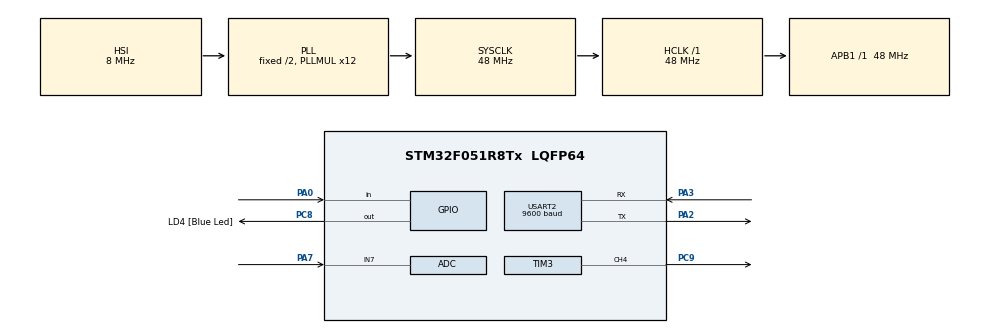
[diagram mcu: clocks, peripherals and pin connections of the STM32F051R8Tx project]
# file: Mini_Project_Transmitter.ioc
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Dma.ADC.1.Direction=DMA_PERIPH_TO_MEMORY
Dma.ADC.1.Instance=DMA1_Channel1
Dma.ADC.1.MemDataAlignment=DMA_MDATAALIGN_HALFWORD
Dma.ADC.1.MemInc=DMA_MINC_ENABLE
Dma.ADC.1.Mode=DMA_NORMAL
Dma.ADC.1.PeriphDataAlignment=DMA_PDATAALIGN_HALFWORD
Dma.ADC.1.PeriphInc=DMA_PINC_DISABLE
Dma.ADC.1.Priority=DMA_PRIORITY_LOW
Dma.Request0=USART2_TX
Dma.Request1=ADC
Dma.USART2_TX.0.Direction=DMA_MEMORY_TO_PERIPH
Dma.USART2_TX.0.Instance=DMA1_Channel4
Dma.USART2_TX.0.MemDataAlignment=DMA_MDATAALIGN_BYTE
Dma.USART2_TX.0.MemInc=DMA_MINC_ENABLE
Dma.USART2_TX.0.Mode=DMA_NORMAL
Dma.USART2_TX.0.PeriphDataAlignment=DMA_PDATAALIGN_BYTE
Dma.USART2_TX.0.PeriphInc=DMA_PINC_DISABLE
Dma.USART2_TX.0.Priority=DMA_PRIORITY_LOW
Mcu.Family=STM32F0
Mcu.Name=STM32F051R8Tx
Mcu.Package=LQFP64
NVIC.ADC1_COMP_IRQn=true\:0\:0\:false\:false\:true\:true\:true\:true
NVIC.DMA1_Channel1_IRQn=true\:0\:0\:false\:false\:true\:false\:true\:true
NVIC.DMA1_Channel4_5_IRQn=true\:0\:0\:false\:false\:true\:false\:true\:true
NVIC.USART2_IRQn=true\:0\:0\:false\:false\:true\:true\:true\:true
PA0.GPIO_PuPd=GPIO_PULLDOWN
PA0.Signal=GPIO_Input
PA13.GPIO_Label=SWDIO
PA13.Mode=Serial_Wire
PA13.Signal=SYS_SWDIO
PA14.GPIO_Label=SWCLK
PA14.Mode=Serial_Wire
PA14.Signal=SYS_SWCLK
PA2.Mode=Asynchronous
PA2.Signal=USART2_TX
PA3.Mode=Asynchronous
PA3.Signal=USART2_RX
PA7.Mode=IN7
PA7.Signal=ADC_IN7
PB6.Signal=I2C1_SCL
PB7.Signal=I2C1_SDA
PC8.GPIO_Label=LD4 [Blue Led]
PC8.Signal=GPIO_Output
PC9.Signal=S_TIM3_CH4
PF0-OSC_IN.Mode=HSE-External-Oscillator
PF0-OSC_IN.Signal=RCC_OSC_IN
PF1-OSC_OUT.Mode=HSE-External-Oscillator
PF1-OSC_OUT.Signal=RCC_OSC_OUT
ProjectManager.HeapSize=0x200
ProjectManager.StackSize=0x400
ProjectManager.TargetToolchain=STM32CubeIDE
RCC.AHBFreq_Value=48000000
RCC.APB1Freq_Value=48000000
RCC.APB1TimFreq_Value=48000000
RCC.HCLKFreq_Value=48000000
RCC.PLLMUL=RCC_PLL_MUL12
RCC.SYSCLKFreq_VALUE=48000000
RCC.SYSCLKSource=RCC_SYSCLKSOURCE_PLLCLK
SH.S_TIM3_CH4.0=TIM3_CH4,PWM Generation4 CH4
TIM3.AutoReloadPreload=TIM_AUTORELOAD_PRELOAD_ENABLE
TIM3.Channel-PWM\ Generation4\ CH4=TIM_CHANNEL_4
TIM3.Period=47999
USART2.BaudRate=9600
USART2.VirtualMode-Asynchronous=VM_ASYNC
VP_TIM3_VS_ClockSourceINT.Mode=Internal
board=STM32F0DISCOVERY

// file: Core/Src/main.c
/* USER CODE BEGIN Header */
/**
*******************************************************
Info:		STM32 ADCs, GPIO Interrupts and PWM with HAL
Author:		Amaan Vally
*******************************************************
In this practical you will learn to use the ADC on the STM32 using the HAL.
Here, we will be measuring the voltage on a potentiometer and using its value
to adjust the brightness of the on board LEDs. We set up an interrupt to switch the
display between the blue and green LEDs.

Code is also provided to send data from the STM32 to other devices using UART protocol
by using HAL. You will need Putty or a Python script to read from the serial port on your PC.

UART Connections are as follows: 5V->5V GND->GND RXD->PA2 TXD->PA3(unused).
Open device manager and go to Ports. Plug in the USB connector with the STM powered on.
Check the port number (COMx). Open up Putty and create a new Serial session on that COMx
with baud rate of 9600.
  ******************************************************************************
  */
/* USER CODE END Header */
#include "main.h"
#include <stdio.h>

/* USER CODE BEGIN PD */
#define UART_TIMEOUT 1000
#define bit_duration 1000
/* USER CODE END PD */

ADC_HandleTypeDef hadc;
DMA_HandleTypeDef hdma_adc;

TIM_HandleTypeDef htim3;

UART_HandleTypeDef huart2;
DMA_HandleTypeDef hdma_usart2_tx;

/* USER CODE BEGIN PV */
char buffer[35];
int delay = 1000;
uint8_t samples_sent;

//TO DO:
//TASK 1
//Create global variables for debouncing and delay interval

/* USER CODE END PV */

void SystemClock_Config(void);
static void MX_GPIO_Init(void);
static void MX_DMA_Init(void);
static void MX_USART2_UART_Init(void);
static void MX_ADC_Init(void);
static void MX_TIM3_Init(void);
/* USER CODE BEGIN PFP */
void EXTI0_1_IRQHandler(void);
uint32_t pollADC(void);
uint32_t ADCtoCRR(uint32_t adc_val);
void sendData(uint32_t adc_val);
void sendCheckpoint(uint8_t samples);

/* USER CODE END PFP */

int main(void) {

  /* MCU Configuration--------------------------------------------------------*/

  /* Reset of all peripherals, Initializes the Flash interface and the Systick. */
  HAL_Init();

  /* Configure the system clock */
  SystemClock_Config();

  /* Initialize all configured peripherals */
  MX_GPIO_Init();
  MX_DMA_Init();
  MX_USART2_UART_Init();
  MX_ADC_Init();
  MX_TIM3_Init();
  /* USER CODE BEGIN 2 */

  // For UART Transmit
  char buffer[20];
  samples_sent=0;
  //Start the PWM on TIM3 Channel 4 (Green LED)
  HAL_TIM_PWM_Start(&htim3, TIM_CHANNEL_4);

  //GPIO Pin state
  GPIO_PinState state;
  uint32_t adc_val;
  /* USER CODE END 2 */

  /* Infinite loop */
  /* USER CODE BEGIN WHILE */
  while (1)
  {
	  state = HAL_GPIO_ReadPin(GPIOA, GPIO_PIN_0);  // Push button
	  if (state)
	  {
	   // LED to indicate pot being polled
		  adc_val = pollADC();

	  	  //Test your pollADC function and display via UART
	      //sprintf(buffer, "adc val = %d \r\n", adc_val);
	      //HAL_UART_Transmit(&huart2, buffer, sizeof(buffer), UART_TIMEOUT);

		  sendData(adc_val);//send data through GPIO pin B6
	  	  //Test your sample function and display via UART
	      sprintf(buffer, "ADC Value = %d \r\n", adc_val);
	      HAL_UART_Transmit(&huart2, buffer, sizeof(buffer), UART_TIMEOUT);

	  	  //Test your sample function and display via UART
	      sprintf(buffer, "samples sent = %d \r\n", samples_sent);
	      HAL_UART_Transmit(&huart2, buffer, sizeof(buffer), UART_TIMEOUT);

		  sendCheckpoint(samples_sent);

	  }
	  else
	  {
		  HAL_GPIO_WritePin(GPIOC, GPIO_PIN_8, GPIO_PIN_RESET);
		  HAL_GPIO_WritePin(GPIOB, GPIO_PIN_6, GPIO_PIN_RESET);
	  }

	  //Test your pollADC function and display via UART
      //sprintf(buffer, "adc_val = %d \r\n", adc_val);
      //HAL_UART_Transmit(&huart2, buffer, sizeof(buffer), UART_TIMEOUT);

	  //Test your ADCtoCRR function. Display CRR value via UART
      //sprintf(buffer, "duty cycle = %d \r\n", ADCtoCRR(adc_val));
      //HAL_UART_Transmit(&huart2, buffer, sizeof(buffer), UART_TIMEOUT);

	  //Complete rest of implementation

      //sendData(val)

	  //HAL_Delay (delay); // wait for 500 ms

    /* USER CODE END WHILE */

  }
}

void SystemClock_Config(void)
{
  RCC_OscInitTypeDef RCC_OscInitStruct = {0};
  RCC_ClkInitTypeDef RCC_ClkInitStruct = {0};

  /** Initializes the RCC Oscillators according to the specified parameters
  * in the RCC_OscInitTypeDef structure.
  */
  RCC_OscInitStruct.OscillatorType = RCC_OSCILLATORTYPE_HSI|RCC_OSCILLATORTYPE_HSI14;
  RCC_OscInitStruct.HSIState = RCC_HSI_ON;
  RCC_OscInitStruct.HSI14State = RCC_HSI14_ON;
  RCC_OscInitStruct.HSICalibrationValue = RCC_HSICALIBRATION_DEFAULT;
  RCC_OscInitStruct.HSI14CalibrationValue = 16;
  RCC_OscInitStruct.PLL.PLLState = RCC_PLL_ON;
  RCC_OscInitStruct.PLL.PLLSource = RCC_PLLSOURCE_HSI;
  RCC_OscInitStruct.PLL.PLLMUL = RCC_PLL_MUL12;
  RCC_OscInitStruct.PLL.PREDIV = RCC_PREDIV_DIV1;
  if (HAL_RCC_OscConfig(&RCC_OscInitStruct) != HAL_OK)
  {
    Error_Handler();
  }

  /** Initializes the CPU, AHB and APB buses clocks
  */
  RCC_ClkInitStruct.ClockType = RCC_CLOCKTYPE_HCLK|RCC_CLOCKTYPE_SYSCLK
                              |RCC_CLOCKTYPE_PCLK1;
  RCC_ClkInitStruct.SYSCLKSource = RCC_SYSCLKSOURCE_PLLCLK;
  RCC_ClkInitStruct.AHBCLKDivider = RCC_SYSCLK_DIV1;
  RCC_ClkInitStruct.APB1CLKDivider = RCC_HCLK_DIV1;

  if (HAL_RCC_ClockConfig(&RCC_ClkInitStruct, FLASH_LATENCY_1) != HAL_OK)
  {
    Error_Handler();
  }
}

static void MX_ADC_Init(void)
{

  ADC_ChannelConfTypeDef sConfig = {0};

  /** Configure the global features of the ADC (Clock, Resolution, Data Alignment and number of conversion)
  */
  hadc.Instance = ADC1;
  hadc.Init.ClockPrescaler = ADC_CLOCK_ASYNC_DIV1;
  hadc.Init.Resolution = ADC_RESOLUTION_12B;
  hadc.Init.DataAlign = ADC_DATAALIGN_RIGHT;
  hadc.Init.ScanConvMode = ADC_SCAN_DIRECTION_FORWARD;
  hadc.Init.EOCSelection = ADC_EOC_SINGLE_CONV;
  hadc.Init.LowPowerAutoWait = DISABLE;
  hadc.Init.LowPowerAutoPowerOff = DISABLE;
  hadc.Init.ContinuousConvMode = DISABLE;
  hadc.Init.DiscontinuousConvMode = DISABLE;
  hadc.Init.ExternalTrigConv = ADC_SOFTWARE_START;
  hadc.Init.ExternalTrigConvEdge = ADC_EXTERNALTRIGCONVEDGE_NONE;
  hadc.Init.DMAContinuousRequests = DISABLE;
  hadc.Init.Overrun = ADC_OVR_DATA_PRESERVED;
  if (HAL_ADC_Init(&hadc) != HAL_OK)
  {
    Error_Handler();
  }

  /** Configure for the selected ADC regular channel to be converted.
  */
  sConfig.Channel = ADC_CHANNEL_7;
  sConfig.Rank = ADC_RANK_CHANNEL_NUMBER;
  sConfig.SamplingTime = ADC_SAMPLETIME_1CYCLE_5;
  if (HAL_ADC_ConfigChannel(&hadc, &sConfig) != HAL_OK)
  {
    Error_Handler();
  }

}

static void MX_TIM3_Init(void)
{

  TIM_ClockConfigTypeDef sClockSourceConfig = {0};
  TIM_MasterConfigTypeDef sMasterConfig = {0};
  TIM_OC_InitTypeDef sConfigOC = {0};

  htim3.Instance = TIM3;
  htim3.Init.Prescaler = 0;
  htim3.Init.CounterMode = TIM_COUNTERMODE_UP;
  htim3.Init.Period = 47999;
  htim3.Init.ClockDivision = TIM_CLOCKDIVISION_DIV1;
  htim3.Init.AutoReloadPreload = TIM_AUTORELOAD_PRELOAD_ENABLE;
  if (HAL_TIM_Base_Init(&htim3) != HAL_OK)
  {
    Error_Handler();
  }
  sClockSourceConfig.ClockSource = TIM_CLOCKSOURCE_INTERNAL;
  if (HAL_TIM_ConfigClockSource(&htim3, &sClockSourceConfig) != HAL_OK)
  {
    Error_Handler();
  }
  if (HAL_TIM_PWM_Init(&htim3) != HAL_OK)
  {
    Error_Handler();
  }
  sMasterConfig.MasterOutputTrigger = TIM_TRGO_RESET;
  sMasterConfig.MasterSlaveMode = TIM_MASTERSLAVEMODE_DISABLE;
  if (HAL_TIMEx_MasterConfigSynchronization(&htim3, &sMasterConfig) != HAL_OK)
  {
    Error_Handler();
  }
  sConfigOC.OCMode = TIM_OCMODE_PWM1;
  sConfigOC.Pulse = 0;
  sConfigOC.OCPolarity = TIM_OCPOLARITY_HIGH;
  sConfigOC.OCFastMode = TIM_OCFAST_DISABLE;
  if (HAL_TIM_PWM_ConfigChannel(&htim3, &sConfigOC, TIM_CHANNEL_4) != HAL_OK)
  {
    Error_Handler();
  }
  HAL_TIM_MspPostInit(&htim3);

}

static void MX_USART2_UART_Init(void)
{

  huart2.Instance = USART2;
  huart2.Init.BaudRate = 9600;
  huart2.Init.WordLength = UART_WORDLENGTH_8B;
  huart2.Init.StopBits = UART_STOPBITS_1;
  huart2.Init.Parity = UART_PARITY_NONE;
  huart2.Init.Mode = UART_MODE_TX_RX;
  huart2.Init.HwFlowCtl = UART_HWCONTROL_NONE;
  huart2.Init.OverSampling = UART_OVERSAMPLING_16;
  huart2.Init.OneBitSampling = UART_ONE_BIT_SAMPLE_DISABLE;
  huart2.AdvancedInit.AdvFeatureInit = UART_ADVFEATURE_NO_INIT;
  if (HAL_UART_Init(&huart2) != HAL_OK)
  {
    Error_Handler();
  }

}

static void MX_DMA_Init(void)
{

  /* DMA controller clock enable */
  __HAL_RCC_DMA1_CLK_ENABLE();

  /* DMA interrupt init */
  /* DMA1_Channel1_IRQn interrupt configuration */
  HAL_NVIC_SetPriority(DMA1_Channel1_IRQn, 0, 0);
  HAL_NVIC_EnableIRQ(DMA1_Channel1_IRQn);
  /* DMA1_Channel4_5_IRQn interrupt configuration */
  HAL_NVIC_SetPriority(DMA1_Channel4_5_IRQn, 0, 0);
  HAL_NVIC_EnableIRQ(DMA1_Channel4_5_IRQn);

}

static void MX_GPIO_Init(void)
{
  GPIO_InitTypeDef GPIO_InitStruct = {0};

  /* GPIO Ports Clock Enable */
  __HAL_RCC_GPIOF_CLK_ENABLE();
  __HAL_RCC_GPIOA_CLK_ENABLE();
  __HAL_RCC_GPIOC_CLK_ENABLE();
  __HAL_RCC_GPIOB_CLK_ENABLE();

  /*Configure GPIO pin Output Level */
  HAL_GPIO_WritePin(LD4_GPIO_Port, LD4_Pin, GPIO_PIN_RESET);

  /*Configure GPIO pin Output Level */
  HAL_GPIO_WritePin(GPIOB, GPIO_PIN_6, GPIO_PIN_RESET);

  /*Configure GPIO pin : PA0 */
  GPIO_InitStruct.Pin = GPIO_PIN_0;
  GPIO_InitStruct.Mode = GPIO_MODE_INPUT;
  GPIO_InitStruct.Pull = GPIO_PULLDOWN;
  HAL_GPIO_Init(GPIOA, &GPIO_InitStruct);

  /*Configure GPIO pin : LD4_Pin */
  GPIO_InitStruct.Pin = LD4_Pin;
  GPIO_InitStruct.Mode = GPIO_MODE_OUTPUT_PP;
  GPIO_InitStruct.Pull = GPIO_NOPULL;
  GPIO_InitStruct.Speed = GPIO_SPEED_FREQ_LOW;
  HAL_GPIO_Init(LD4_GPIO_Port, &GPIO_InitStruct);

  /*Configure GPIO pin : PB6 */
  GPIO_InitStruct.Pin = GPIO_PIN_6;
  GPIO_InitStruct.Mode = GPIO_MODE_OUTPUT_PP;
  GPIO_InitStruct.Pull = GPIO_NOPULL;
  GPIO_InitStruct.Speed = GPIO_SPEED_FREQ_LOW;
  HAL_GPIO_Init(GPIOB, &GPIO_InitStruct);

}

/* USER CODE BEGIN 4 */

uint32_t pollADC(void){     // get ADC value
	//TO DO:
	//TASK 2
	// Complete the function body
    uint32_t timeout = 100;//in milliseconds //timeout = 500ms?
    HAL_ADC_Start(&hadc);
    HAL_ADC_PollForConversion(&hadc, timeout);

    uint32_t val = HAL_ADC_GetValue(&hadc);
    HAL_ADC_Stop(&hadc);

    //ADC has 12-bit resolution
	return val;
}

uint32_t ADCtoCRR(uint32_t adc_val){    // convert ADC value to PWM duty cycle (CRR) value
	//TO DO:
	//TASK 3
	// Complete the function body
	//HINT: The CCR value for 100% DC is 47999 (DC = CCR/ARR = CCR/47999)
	//HINT: The ADC range is approx 0 - 4095 => adc_val in range(0, 4095)
	//HINT: Scale number from 0-4096 to 0 -

    //if the value is 200, then green LED will be on for 200 cycles and of for 3896 cycles
    uint32_t ccr_val = adc_val* 47999/4095 ;//change to suitable value
    uint32_t arr_val = 47999;
    HAL_TIM_PWM_Start(&hadc, TIM_CHANNEL_4);
    HAL_ADC_Start_IT(&hadc);
    uint32_t val = 100*ccr_val/arr_val;
    __HAL_TIM_SetCompare(&htim3, TIM_CHANNEL_4, ccr_val);
    HAL_ADC_Stop_IT(&hadc);

	return val;
}

void sendData(uint32_t data){

	HAL_GPIO_WritePin(GPIOB, GPIO_PIN_6,GPIO_PIN_SET);  //Start bit
	HAL_Delay(bit_duration/2);

	GPIO_PinState state;
	uint32_t temp=data;
	for (int i = 12; i>0 ; i--) //iterate through data bit by bit, LSB first, first 12 bits sent
	{
        if ((temp & 0x0001)==1)  // if data's last bit == 1
        {
            state = GPIO_PIN_SET;     // state = HIGH
        }
        else
        {
            state=GPIO_PIN_RESET;
        }  // state = LOW

        HAL_GPIO_WritePin(GPIOC, GPIO_PIN_8, state);//LED for flashing
        HAL_GPIO_WritePin(GPIOB, GPIO_PIN_6, state);    // write data bit by bit
        HAL_Delay(bit_duration);//duration bit is set high/low

        //Test your pollADC function and display via UART
        sprintf(buffer, "ADC bit state = %d \r\n", state);
        HAL_UART_Transmit(&huart2, buffer, sizeof(buffer), UART_TIMEOUT);

        temp >>= 1; // bitwise shift data to the right

	}
	samples_sent+=1;//increment number of samples sent

}
void sendCheckpoint(uint8_t samples)//refer to sendData() comments, same implementation
{
//	HAL_GPIO_WritePin(GPIOB, GPIO_PIN_6,GPIO_PIN_SET);//Start bit
//	HAL_Delay(bit_duration);
//	HAL_GPIO_WritePin(GPIOB, GPIO_PIN_6,GPIO_PIN_RESET);//Checkpoint mode selection
//	HAL_Delay(500);

	GPIO_PinState state;
	uint8_t temp=samples;
	for (int i = 8; i>0 ; i--)
	{
        if((temp & 0x0001)==1)
        {
        	state=GPIO_PIN_SET;
        }
        else state=GPIO_PIN_RESET;

        HAL_GPIO_WritePin(GPIOC, GPIO_PIN_8, state);    //LED for flashing
        HAL_GPIO_WritePin(GPIOB, GPIO_PIN_6, state);
        HAL_Delay(bit_duration);

    	  //Test bit state for sample function and display via UART
        sprintf(buffer, "Sample bit state = %d \r\n", state);
        HAL_UART_Transmit(&huart2, buffer, sizeof(buffer), UART_TIMEOUT);

        temp >>= 1;
	}
}

/* USER CODE END 4 */

void Error_Handler(void)
{
  __disable_irq();
  while (1)
  {
  }
}
